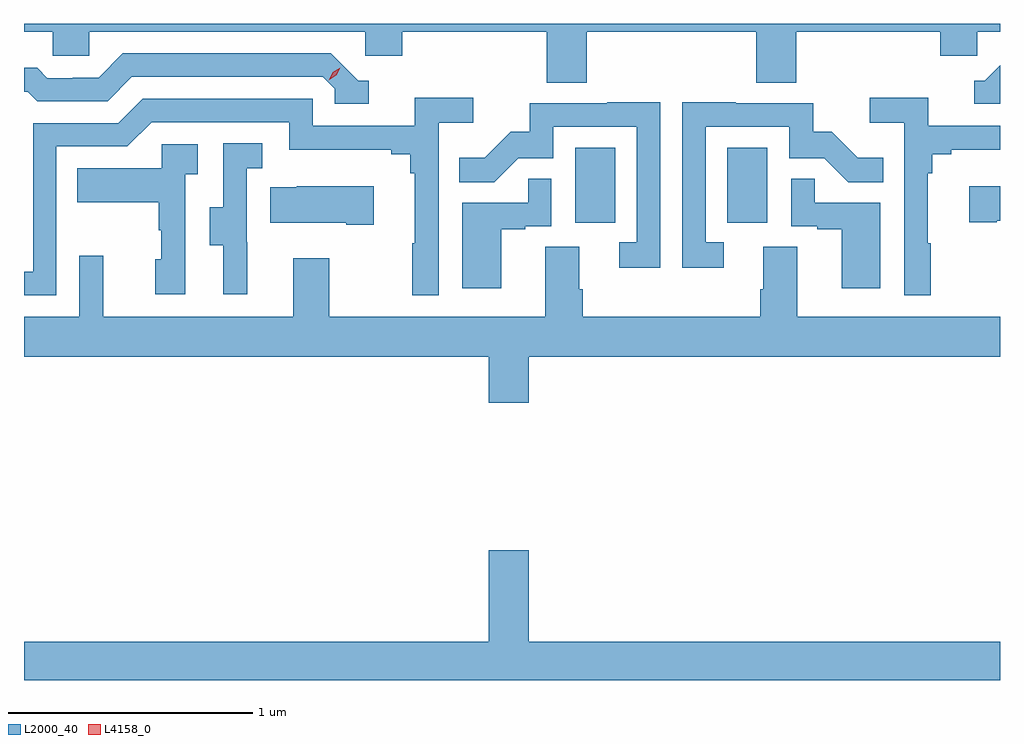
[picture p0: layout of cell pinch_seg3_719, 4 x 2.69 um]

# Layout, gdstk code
import gdstk
lib = gdstk.Library(unit=1e-6, precision=1e-09)
def R(c, l, rs):  # rectangles x0, y0, x1, y1
    for r in rs: c.add(gdstk.rectangle(r[:2], r[2:], *l))
def P(c, l, *ps):  # polygons
    for p in ps: c.add(gdstk.Polygon(p, *l))
L2000_40 = (2000, 40)
L4158_0 = (4158, 0)

pinch_seg3_719 = lib.new_cell('pinch_seg3_719')
R(pinch_seg3_719, L2000_40, [(884.642,748.086,884.806,748.393), (885.266,748.086,885.43,748.393)])
P(pinch_seg3_719, L2000_40, [(884.69,748.868),(885.383,748.868),(885.383,748.66),(885.548,748.66),(885.548,748.868),(886.139,748.868),(886.139,748.77),(886.29,748.77),(886.29,748.868),(886.383,748.868),(886.383,748.9),(882.383,748.9),(882.383,748.868),(882.501,748.868),(882.501,748.77),(882.651,748.77),(882.651,748.868),(883.782,748.868),(883.782,748.77),(883.934,748.77),(883.934,748.868),(884.525,748.868),(884.525,748.66),(884.69,748.66)],
  [(883.795,748.668),(883.752,748.668),(883.641,748.779),(882.788,748.779),(882.689,748.68),(882.582,748.68),(882.582,748.677),(882.479,748.677),(882.437,748.72),(882.383,748.72),(882.383,748.623),(882.398,748.623),(882.437,748.584),(882.726,748.584),(882.825,748.683),(883.608,748.683),(883.656,748.635),(883.656,748.572),(883.795,748.572)],
  [(886.383,748.731),(886.32,748.668),(886.277,748.668),(886.277,748.572),(886.383,748.572)],
  [(886.099,748.001),(886.087,748.001),(886.087,748.289),(886.106,748.289),(886.106,748.366),(886.183,748.366),(886.183,748.385),(886.383,748.385),(886.383,748.482),(886.088,748.482),(886.088,748.598),(885.849,748.598),(885.849,748.496),(885.99,748.496),(885.99,747.789),(886.099,747.789)],
  [(882.516,748.398),(882.807,748.398),(882.906,748.497),(883.47,748.497),(883.47,748.385),(883.889,748.385),(883.889,748.366),(883.966,748.366),(883.966,748.289),(883.985,748.289),(883.985,748.001),(883.974,748.001),(883.974,747.789),(884.082,747.789),(884.082,748.496),(884.224,748.496),(884.224,748.598),(883.985,748.598),(883.985,748.482),(883.566,748.482),(883.566,748.593),(882.869,748.593),(882.77,748.494),(882.42,748.494),(882.42,747.885),(882.383,747.885),(882.383,747.789),(882.516,747.789)],
  [(884.991,748.58),(884.773,748.58),(884.773,748.575),(884.455,748.575),(884.455,748.458),(884.378,748.458),(884.271,748.351),(884.167,748.351),(884.167,748.252),(884.311,748.252),(884.409,748.35),(884.553,748.35),(884.553,748.479),(884.895,748.479),(884.895,748.005),(884.823,748.005),(884.823,747.9),(884.991,747.9)],
  [(885.25,748.005),(885.177,748.005),(885.177,748.479),(885.519,748.479),(885.519,748.35),(885.663,748.35),(885.761,748.252),(885.905,748.252),(885.905,748.351),(885.801,748.351),(885.694,748.458),(885.618,748.458),(885.618,748.575),(885.299,748.575),(885.299,748.58),(885.081,748.58),(885.081,747.9),(885.25,747.9)],
  [(883.298,748.005),(883.296,748.005),(883.296,748.309),(883.36,748.309),(883.36,748.412),(883.2,748.412),(883.2,748.149),(883.145,748.149),(883.145,747.994),(883.199,747.994),(883.199,747.792),(883.298,747.792)],
  [(883.044,748.283),(883.096,748.283),(883.096,748.407),(882.948,748.407),(882.948,748.309),(882.601,748.309),(882.601,748.169),(882.936,748.169),(882.936,748.055),(882.946,748.055),(882.946,747.936),(882.92,747.936),(882.92,747.792),(883.044,747.792)],
  [(884.338,748.059),(884.438,748.059),(884.438,748.071),(884.544,748.071),(884.544,748.265),(884.449,748.265),(884.449,748.167),(884.18,748.167),(884.18,747.816),(884.338,747.816)],
  [(885.892,748.167),(885.623,748.167),(885.623,748.265),(885.528,748.265),(885.528,748.071),(885.635,748.071),(885.635,748.059),(885.734,748.059),(885.734,747.816),(885.892,747.816)],
  [(883.816,748.234),(883.501,748.234),(883.501,748.231),(883.393,748.231),(883.393,748.085),(883.703,748.085),(883.703,748.078),(883.816,748.078)],
  [(886.369,748.094),(886.383,748.094),(886.383,748.234),(886.257,748.234),(886.257,748.087),(886.369,748.087)],
  [(884.452,747.536),(886.383,747.536),(886.383,747.7),(885.553,747.7),(885.553,747.986),(885.413,747.986),(885.413,747.812),(885.401,747.812),(885.401,747.7),(884.672,747.7),(884.672,747.812),(884.659,747.812),(884.659,747.986),(884.519,747.986),(884.519,747.7),(883.635,747.7),(883.635,747.94),(883.487,747.94),(883.487,747.7),(882.707,747.7),(882.707,747.949),(882.609,747.949),(882.609,747.7),(882.383,747.7),(882.383,747.536),(884.288,747.536),(884.288,747.348),(884.452,747.348)],
  [(886.383,746.368),(884.452,746.368),(884.452,746.743),(884.288,746.743),(884.288,746.368),(882.383,746.368),(882.383,746.211),(886.383,746.211)])
P(pinch_seg3_719, L4158_0, [(883.632,748.67),(883.632,748.67),(883.648,748.702),(883.679,748.721),(883.679,748.721),(883.679,748.721),(883.663,748.689),(883.632,748.67)])

lib.write_gds('pinch_seg3_719.gds')
